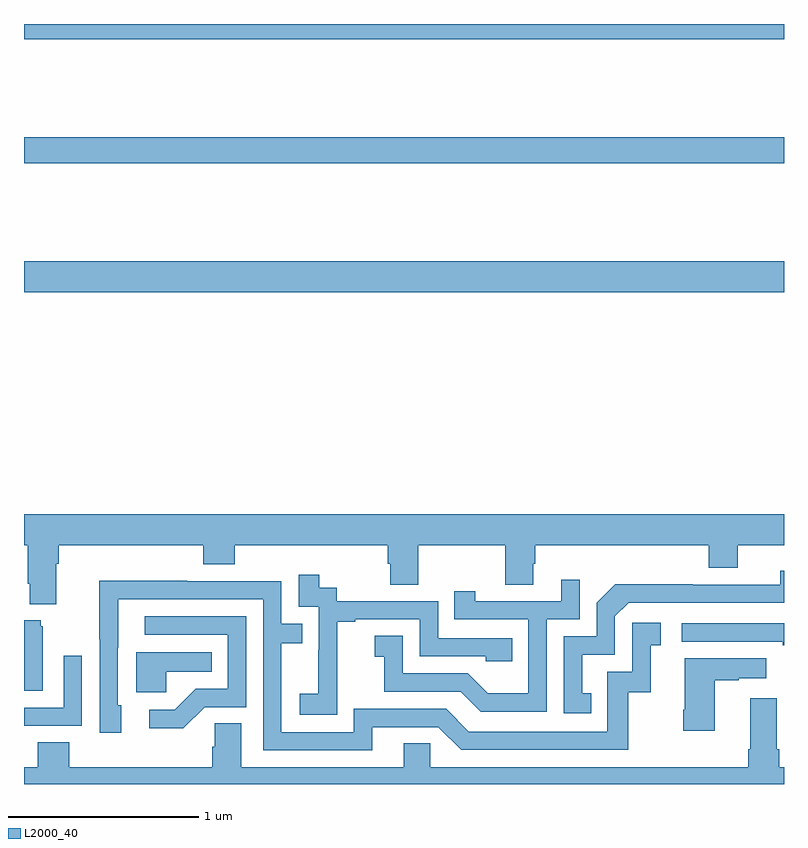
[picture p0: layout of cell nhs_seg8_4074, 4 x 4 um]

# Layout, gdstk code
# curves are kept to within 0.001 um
import gdstk
lib = gdstk.Library(unit=1e-6, precision=1e-09)
def R(c, l, rs):  # rectangles x0, y0, x1, y1
    for r in rs: c.add(gdstk.rectangle(r[:2], r[2:], *l))
def P(c, l, *ps):  # polygons
    for p in ps: c.add(gdstk.Polygon(p, *l))
L2000_40 = (2000, 40)

nhs_seg8_4074 = lib.new_cell('nhs_seg8_4074')
R(nhs_seg8_4074, L2000_40, [(361,1128.488,365,1128.652), (361,1129.168,365,1129.304), (361,1129.82,365,1129.9)])
P(nhs_seg8_4074, L2000_40, [(361,1127.156),(361.019,1127.156),(361.019,1126.954),(361.031,1126.954),(361.031,1126.847),(361.171,1126.847),(361.171,1127.06),(361.184,1127.06),(361.184,1127.156),(361.943,1127.156),(361.943,1127.057),(362.108,1127.057),(362.108,1127.156),(362.915,1127.156),(362.915,1127.058),(362.927,1127.058),(362.927,1126.948),(363.075,1126.948),(363.075,1127.156),(363.532,1127.156),(363.532,1126.948),(363.679,1126.948),(363.679,1127.058),(363.692,1127.058),(363.692,1127.156),(364.604,1127.156),(364.604,1127.039),(364.756,1127.039),(364.756,1127.156),(365,1127.156),(365,1127.32),(361,1127.32)],
  [(363.986,1126.377),(363.937,1126.377),(363.937,1126.581),(364.11,1126.581),(364.11,1126.782),(364.182,1126.854),(365,1126.854),(365,1127.023),(364.98,1127.023),(364.98,1126.95),(364.52,1126.95),(364.52,1126.952),(364.112,1126.952),(364.014,1126.854),(364.014,1126.677),(363.84,1126.677),(363.84,1126.272),(363.986,1126.272)],
  [(362.649,1126.471),(362.648,1126.471),(362.648,1126.755),(362.743,1126.755),(362.743,1126.767),(363.084,1126.767),(363.084,1126.572),(363.429,1126.572),(363.429,1126.545),(363.569,1126.545),(363.569,1126.668),(363.18,1126.668),(363.18,1126.863),(362.646,1126.863),(362.646,1126.932),(362.554,1126.932),(362.554,1127.002),(362.445,1127.002),(362.445,1126.833),(362.55,1126.833),(362.55,1126.604),(362.549,1126.604),(362.549,1126.375),(362.451,1126.375),(362.451,1126.265),(362.649,1126.265)],
  [(363.75,1126.767),(363.924,1126.767),(363.924,1126.975),(363.827,1126.975),(363.827,1126.863),(363.376,1126.863),(363.376,1126.915),(363.265,1126.915),(363.265,1126.767),(363.654,1126.767),(363.654,1126.378),(363.44,1126.378),(363.336,1126.482),(362.994,1126.482),(362.994,1126.681),(362.847,1126.681),(362.847,1126.571),(362.896,1126.571),(362.896,1126.386),(363.299,1126.386),(363.404,1126.281),(363.75,1126.281)],
  [(362.833,1126.2),(363.18,1126.2),(363.3,1126.08),(364.18,1126.08),(364.18,1126.383),(364.298,1126.383),(364.298,1126.629),(364.351,1126.629),(364.351,1126.75),(364.2,1126.75),(364.2,1126.491),(364.071,1126.491),(364.071,1126.176),(363.342,1126.176),(363.222,1126.296),(362.736,1126.296),(362.736,1126.173),(362.355,1126.173),(362.355,1126.642),(362.465,1126.642),(362.465,1126.743),(362.355,1126.743),(362.355,1126.968),(361.859,1126.968),(361.859,1126.97),(361.396,1126.97),(361.396,1126.663),(361.398,1126.663),(361.398,1126.17),(361.513,1126.17),(361.513,1126.314),(361.494,1126.314),(361.495,1126.872),(362.259,1126.872),(362.259,1126.077),(362.833,1126.077)],
  [(361.95,1126.305),(362.169,1126.305),(362.169,1126.782),(361.635,1126.782),(361.635,1126.686),(362.073,1126.686),(362.073,1126.401),(361.904,1126.401),(361.793,1126.29),(361.659,1126.29),(361.659,1126.193),(361.837,1126.193)],
  [(361.099,1126.731),(361.088,1126.731),(361.088,1126.762),(361,1126.762),(361,1126.391),(361.099,1126.391)],
  [(365,1126.746),(364.461,1126.746),(364.461,1126.65),(364.993,1126.65),(364.993,1126.63),(365,1126.63)],
  [(361.749,1126.49),(361.988,1126.49),(361.988,1126.594),(361.592,1126.594),(361.592,1126.382),(361.749,1126.382)],
  [(361.305,1126.576),(361.209,1126.576),(361.209,1126.302),(361,1126.302),(361,1126.206),(361.305,1126.206)],
  [(364.636,1126.447),(364.763,1126.447),(364.763,1126.457),(364.906,1126.457),(364.906,1126.561),(364.478,1126.561),(364.478,1126.291),(364.471,1126.291),(364.471,1126.179),(364.636,1126.179)],
  [(365,1125.988),(364.976,1125.988),(364.976,1126.084),(364.963,1126.084),(364.963,1126.351),(364.823,1126.351),(364.823,1126.084),(364.811,1126.084),(364.811,1125.988),(363.138,1125.988),(363.138,1126.115),(362.999,1126.115),(362.999,1125.988),(362.143,1125.988),(362.143,1126.22),(362.004,1126.22),(362.004,1126.097),(361.991,1126.097),(361.991,1125.988),(361.238,1125.988),(361.238,1126.121),(361.073,1126.121),(361.073,1125.988),(361,1125.988),(361,1125.9),(365,1125.9)])

lib.write_gds('nhs_seg8_4074.gds')
